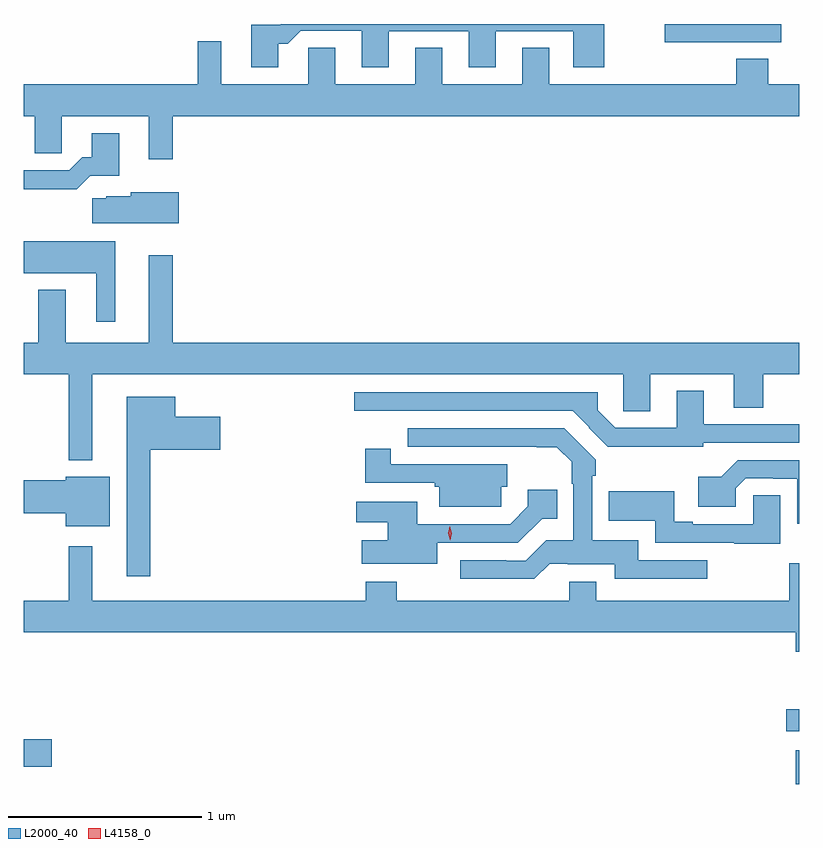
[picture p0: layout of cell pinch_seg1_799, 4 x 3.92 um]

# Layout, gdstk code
import gdstk
lib = gdstk.Library(unit=1e-6, precision=1e-09)
def R(c, l, rs):  # rectangles x0, y0, x1, y1
    for r in rs: c.add(gdstk.rectangle(r[:2], r[2:], *l))
def P(c, l, *ps):  # polygons
    for p in ps: c.add(gdstk.Polygon(p, *l))
L2000_40 = (2000, 40)
L4158_0 = (4158, 0)

pinch_seg1_799 = lib.new_cell('pinch_seg1_799')
R(pinch_seg1_799, L2000_40, [(375.144,568.266,375.162,568.44), (371.162,568.354,371.305,568.496), (375.096,568.538,375.162,568.652)])
P(pinch_seg1_799, L2000_40, [(374.753,572.094),(375.069,572.094),(375.069,572.188),(374.469,572.188),(374.469,572.093),(374.753,572.093)],
  [(372.475,572.087),(372.524,572.087),(372.591,572.154),(372.905,572.154),(372.905,571.965),(373.045,571.965),(373.045,572.151),(373.457,572.151),(373.457,571.965),(373.597,571.965),(373.597,572.151),(373.997,572.151),(373.997,571.965),(374.157,571.965),(374.157,572.188),(372.487,572.188),(372.483,572.184),(372.335,572.184),(372.335,571.965),(372.475,571.965)],
  [(375.162,571.876),(375.002,571.876),(375.002,572.009),(374.837,572.009),(374.837,571.876),(373.873,571.876),(373.873,572.066),(373.733,572.066),(373.733,571.876),(373.321,571.876),(373.321,572.066),(373.181,572.066),(373.181,571.876),(372.769,571.876),(372.769,572.066),(372.63,572.066),(372.63,571.876),(372.181,571.876),(372.181,572.098),(372.06,572.098),(372.06,571.876),(371.162,571.876),(371.162,571.712),(371.219,571.712),(371.219,571.522),(371.358,571.522),(371.358,571.712),(371.807,571.712),(371.807,571.491),(371.929,571.491),(371.929,571.712),(375.162,571.712)],
  [(371.505,571.404),(371.653,571.404),(371.653,571.624),(371.513,571.624),(371.513,571.501),(371.464,571.501),(371.397,571.434),(371.162,571.434),(371.162,571.336),(371.179,571.336),(371.179,571.334),(371.435,571.334)],
  [(371.962,571.321),(371.712,571.321),(371.712,571.3),(371.586,571.3),(371.586,571.289),(371.514,571.289),(371.514,571.16),(371.962,571.16)],
  [(371.632,571.066),(371.162,571.066),(371.162,570.902),(371.534,570.902),(371.534,570.651),(371.632,570.651)],
  [(371.515,570.38),(374.256,570.38),(374.256,570.19),(374.395,570.19),(374.395,570.38),(374.825,570.38),(374.825,570.208),(374.978,570.208),(374.978,570.38),(375.162,570.38),(375.162,570.544),(371.929,570.544),(371.929,570.994),(371.807,570.994),(371.807,570.544),(371.377,570.544),(371.377,570.817),(371.237,570.817),(371.237,570.544),(371.162,570.544),(371.162,570.38),(371.394,570.38),(371.394,569.936),(371.515,569.936)],
  [(374.667,570.027),(375.162,570.027),(375.162,570.123),(374.671,570.123),(374.671,570.295),(374.531,570.295),(374.531,570.105),(374.214,570.105),(374.124,570.196),(374.124,570.288),(372.867,570.288),(372.867,570.192),(373.995,570.192),(374.08,570.107),(374.077,570.104),(374.175,570.007),(374.667,570.007)],
  [(371.815,569.99),(372.175,569.99),(372.175,570.16),(371.944,570.16),(371.944,570.265),(371.693,570.265),(371.693,569.337),(371.815,569.337)],
  [(373.875,569.403),(373.969,569.403),(373.969,569.399),(374.21,569.399),(374.21,569.325),(374.689,569.325),(374.689,569.421),(374.332,569.421),(374.332,569.524),(374.094,569.524),(374.094,569.858),(374.114,569.858),(374.114,569.939),(373.951,570.102),(373.143,570.102),(373.143,570.006),(373.808,570.006),(373.808,570.004),(373.912,570.004),(373.988,569.928),(373.988,569.816),(373.998,569.816),(373.998,569.523),(373.857,569.523),(373.752,569.418),(373.652,569.418),(373.652,569.421),(373.413,569.421),(373.413,569.324),(373.796,569.324)],
  [(373.624,569.799),(373.657,569.799),(373.657,569.917),(373.381,569.917),(373.381,569.916),(373.054,569.916),(373.054,569.995),(372.924,569.995),(372.924,569.82),(373.281,569.82),(373.281,569.799),(373.304,569.799),(373.304,569.696),(373.624,569.696)],
  [(375.162,569.937),(374.846,569.937),(374.76,569.851),(374.643,569.851),(374.643,569.696),(374.835,569.696),(374.835,569.793),(374.886,569.844),(375.028,569.844),(375.028,569.841),(375.152,569.841),(375.152,569.61),(375.162,569.61)],
  [(371.605,569.851),(371.378,569.851),(371.378,569.834),(371.162,569.834),(371.162,569.662),(371.378,569.662),(371.378,569.597),(371.605,569.597)],
  [(373.294,569.511),(373.711,569.511),(373.836,569.636),(373.913,569.636),(373.913,569.785),(373.763,569.785),(373.763,569.699),(373.671,569.607),(373.192,569.607),(373.192,569.722),(372.876,569.722),(372.876,569.618),(373.04,569.618),(373.04,569.524),(372.906,569.524),(372.906,569.402),(373.294,569.402)],
  [(375.064,569.756),(374.925,569.756),(374.925,569.607),(374.614,569.607),(374.614,569.62),(374.517,569.62),(374.517,569.776),(374.179,569.776),(374.179,569.624),(374.421,569.624),(374.421,569.511),(374.828,569.511),(374.828,569.506),(375.064,569.506)],
  [(375.162,569.404),(375.112,569.404),(375.112,569.212),(374.116,569.212),(374.116,569.311),(373.976,569.311),(373.976,569.212),(373.086,569.212),(373.086,569.311),(372.926,569.311),(372.926,569.212),(371.515,569.212),(371.515,569.494),(371.394,569.494),(371.394,569.212),(371.162,569.212),(371.162,569.048),(375.146,569.048),(375.146,568.949),(375.162,568.949)])
P(pinch_seg1_799, L4158_0, [(373.362,569.524),(373.362,569.524),(373.351,569.559),(373.359,569.596),(373.359,569.596),(373.359,569.596),(373.371,569.56),(373.363,569.524)])

lib.write_gds('pinch_seg1_799.gds')
